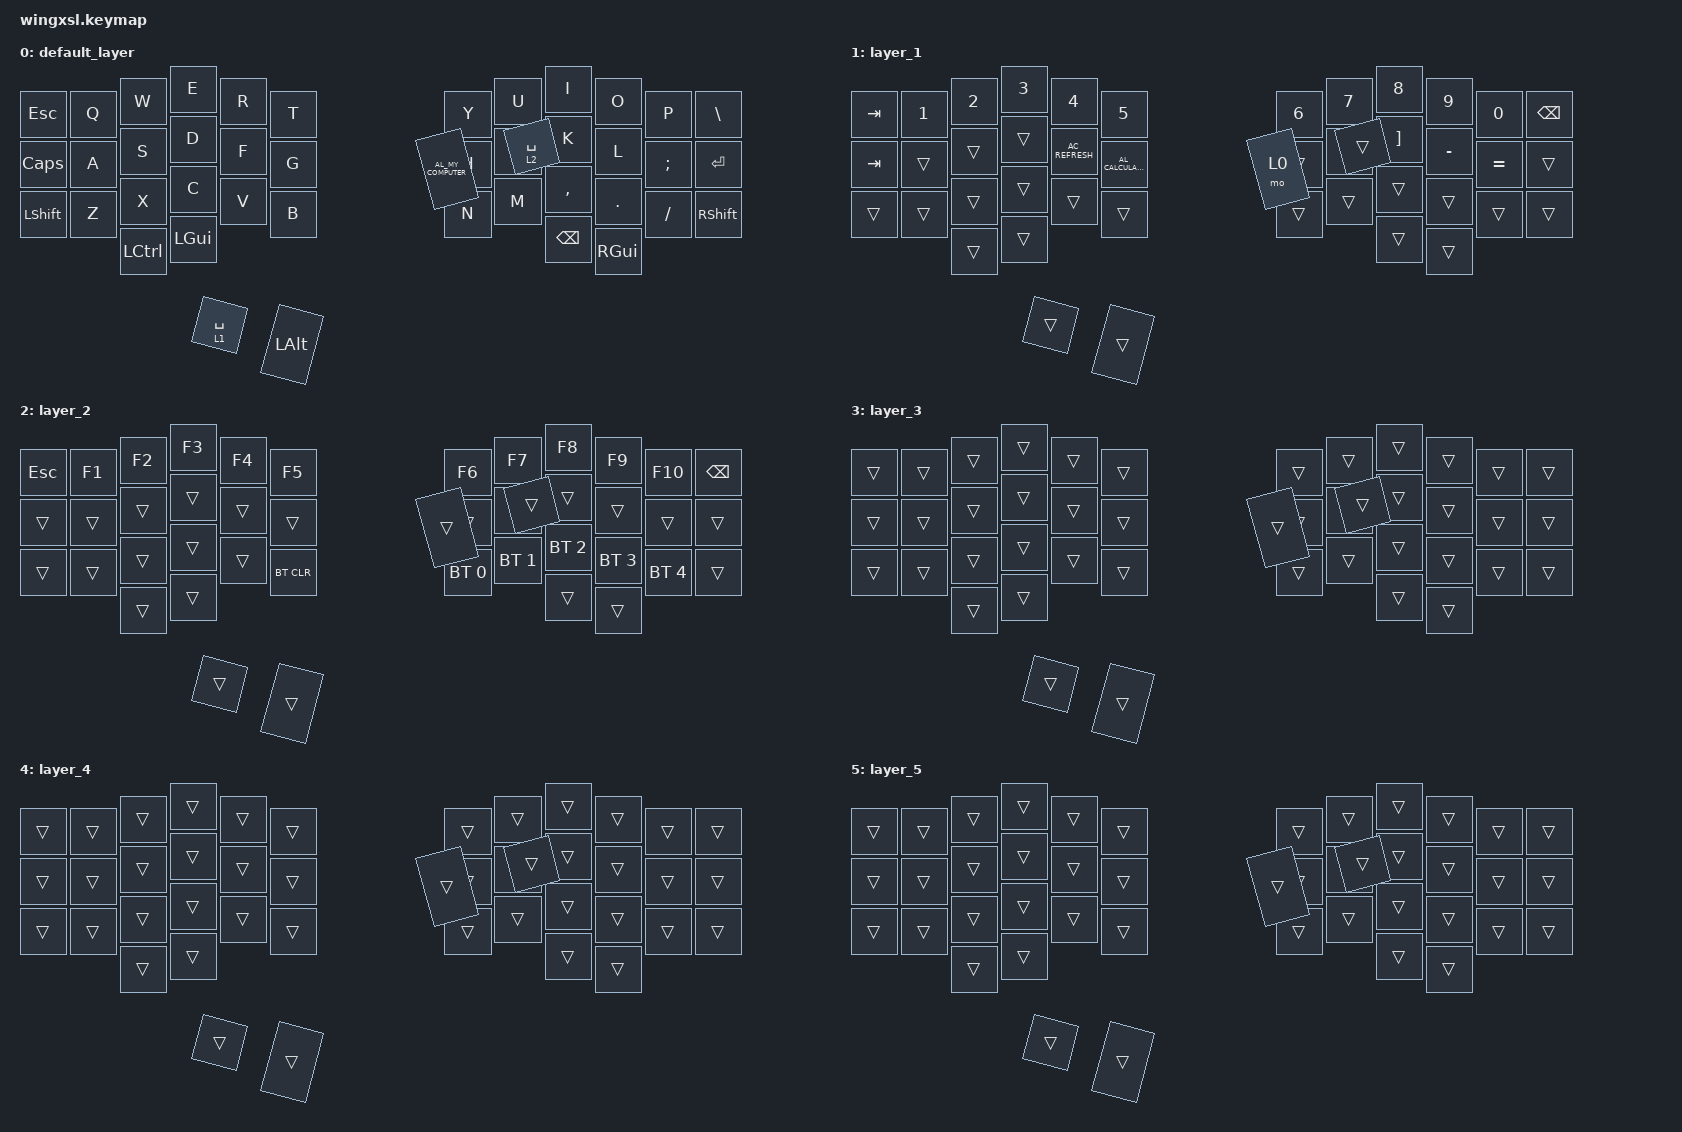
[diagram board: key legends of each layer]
/*
 * Copyright (c) 2020 The ZMK Contributors
 *
 * SPDX-License-Identifier: MIT
 */

#include <behaviors.dtsi>
#include <dt-bindings/zmk/bt.h>
#include <dt-bindings/zmk/keys.h>

/ {
    keymap {
        compatible = "zmk,keymap";

        default_layer {
            bindings = <
&kp ESC       &kp Q  &kp W      &kp E     &kp R        &kp T     &kp Y                 &kp U        &kp I          &kp O     &kp P     &kp BSLH
&kp CAPSLOCK  &kp A  &kp S      &kp D     &kp F        &kp G     &kp H                 &kp J        &kp K          &kp L     &kp SEMI  &kp ENTER
&kp LSHIFT    &kp Z  &kp X      &kp C     &kp V        &kp B     &kp N                 &kp M        &kp COMMA      &kp DOT   &kp FSLH  &kp RSHIFT
                     &kp LCTRL  &kp LGUI  &lt 1 SPACE  &kp LALT  &kp C_AL_MY_COMPUTER  &lt 2 SPACE  &kp BACKSPACE  &kp RGUI
            >;
        };

        layer_1 {
            bindings = <
&kp TAB  &kp N1  &kp N2  &kp N3  &kp N4            &kp N5               &kp N6  &kp N7    &kp N8    &kp N9     &kp N0     &kp BACKSPACE
&kp TAB  &trans  &trans  &trans  &kp C_AC_REFRESH  &kp C_AL_CALCULATOR  &trans  &kp LBKT  &kp RBKT  &kp MINUS  &kp EQUAL  &trans
&trans   &trans  &trans  &trans  &trans            &trans               &trans  &trans    &trans    &trans     &trans     &trans
                 &trans  &trans  &trans            &trans               &mo 0   &trans    &trans    &trans
            >;
        };

        layer_2 {
            bindings = <
&kp ESC  &kp F1  &kp F2  &kp F3  &kp F4  &kp F5      &kp F6        &kp F7        &kp F8        &kp F9        &kp F10       &kp BSPC
&trans   &trans  &trans  &trans  &trans  &trans      &trans        &trans        &trans        &trans        &trans        &trans
&trans   &trans  &trans  &trans  &trans  &bt BT_CLR  &bt BT_SEL 0  &bt BT_SEL 1  &bt BT_SEL 2  &bt BT_SEL 3  &bt BT_SEL 4  &trans
                 &trans  &trans  &trans  &trans      &trans        &trans        &trans        &trans
            >;
        };

        layer_3 {
            bindings = <
&trans  &trans  &trans  &trans  &trans  &trans  &trans  &trans  &trans  &trans  &trans  &trans
&trans  &trans  &trans  &trans  &trans  &trans  &trans  &trans  &trans  &trans  &trans  &trans
&trans  &trans  &trans  &trans  &trans  &trans  &trans  &trans  &trans  &trans  &trans  &trans
                &trans  &trans  &trans  &trans  &trans  &trans  &trans  &trans
            >;
        };

        layer_4 {
            bindings = <
&trans  &trans  &trans  &trans  &trans  &trans  &trans  &trans  &trans  &trans  &trans  &trans
&trans  &trans  &trans  &trans  &trans  &trans  &trans  &trans  &trans  &trans  &trans  &trans
&trans  &trans  &trans  &trans  &trans  &trans  &trans  &trans  &trans  &trans  &trans  &trans
                &trans  &trans  &trans  &trans  &trans  &trans  &trans  &trans
            >;
        };

        layer_5 {
            bindings = <
&trans  &trans  &trans  &trans  &trans  &trans  &trans  &trans  &trans  &trans  &trans  &trans
&trans  &trans  &trans  &trans  &trans  &trans  &trans  &trans  &trans  &trans  &trans  &trans
&trans  &trans  &trans  &trans  &trans  &trans  &trans  &trans  &trans  &trans  &trans  &trans
                &trans  &trans  &trans  &trans  &trans  &trans  &trans  &trans
            >;
        };
    };
};
